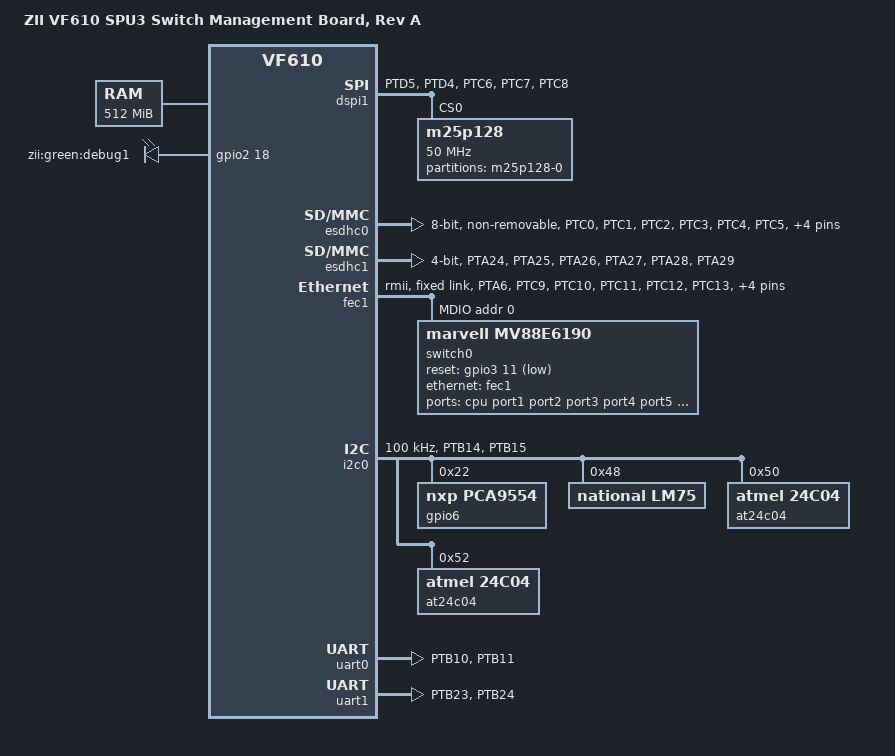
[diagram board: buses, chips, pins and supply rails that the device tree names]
/*
 * Copyright (C) 2015, 2016 Zodiac Inflight Innovations
 *
 * Based on an original 'vf610-twr.dts' which is Copyright 2015,
 * Freescale Semiconductor, Inc.
 *
 * This file is dual-licensed: you can use it either under the terms
 * of the GPL or the X11 license, at your option. Note that this dual
 * licensing only applies to this file, and not this project as a
 * whole.
 *
 *  a) This file is free software; you can redistribute it and/or
 *     modify it under the terms of the GNU General Public License
 *     version 2 as published by the Free Software Foundation.
 *
 *     This file is distributed in the hope that it will be useful
 *     but WITHOUT ANY WARRANTY; without even the implied warranty of
 *     MERCHANTABILITY or FITNESS FOR A PARTICULAR PURPOSE.  See the
 *     GNU General Public License for more details.
 *
 * Or, alternatively
 *
 *  b) Permission is hereby granted, free of charge, to any person
 *     obtaining a copy of this software and associated documentation
 *     files (the "Software"), to deal in the Software without
 *     restriction, including without limitation the rights to use
 *     copy, modify, merge, publish, distribute, sublicense, and/or
 *     sell copies of the Software, and to permit persons to whom the
 *     Software is furnished to do so, subject to the following
 *     conditions:
 *
 *     The above copyright notice and this permission notice shall be
 *     included in all copies or substantial portions of the Software.
 *
 *     THE SOFTWARE IS PROVIDED , WITHOUT WARRANTY OF ANY KIND
 *     EXPRESS OR IMPLIED, INCLUDING BUT NOT LIMITED TO THE WARRANTIES
 *     OF MERCHANTABILITY, FITNESS FOR A PARTICULAR PURPOSE AND
 *     NONINFRINGEMENT. IN NO EVENT SHALL THE AUTHORS OR COPYRIGHT
 *     HOLDERS BE LIABLE FOR ANY CLAIM, DAMAGES OR OTHER LIABILITY
 *     WHETHER IN AN ACTION OF CONTRACT, TORT OR OTHERWISE, ARISING
 *     FROM, OUT OF OR IN CONNECTION WITH THE SOFTWARE OR THE USE OR
 *     OTHER DEALINGS IN THE SOFTWARE.
 */

/dts-v1/;
#include "vf610.dtsi"

/ {
	model = "ZII VF610 SPU3 Switch Management Board, Rev A";
	compatible = "zii,vf610spu3", "fsl,vf610";

	chosen {
		stdout-path = "serial0:115200n8";
	};

	memory {
		reg = <0x80000000 0x20000000>;
	};

	gpio-leds {
		compatible = "gpio-leds";
		pinctrl-0 = <&pinctrl_leds_debug>;
		pinctrl-names = "default";

		debug {
			label = "zii:green:debug1";
			gpios = <&gpio2 18 GPIO_ACTIVE_HIGH>;
			linux,default-trigger = "heartbeat";
		};
	};
};

&dspi1 {
	bus-num = <1>;
	pinctrl-names = "default";
	pinctrl-0 = <&pinctrl_dspi1>;
	status = "okay";

	m25p128@0 {
		#address-cells = <1>;
		#size-cells = <1>;
		compatible = "m25p128", "jedec,spi-nor";
		reg = <0>;
		spi-max-frequency = <50000000>;

		partition@0 {
			label = "m25p128-0";
			reg = <0x0 0x01000000>;
		};
	};
};

&edma0 {
	status = "okay";
};

&esdhc0 {
	pinctrl-names = "default";
	pinctrl-0 = <&pinctrl_esdhc0>;
	bus-width = <8>;
	non-removable;
	no-1-8-v;
	keep-power-in-suspend;
	status = "okay";
};

&esdhc1 {
	pinctrl-names = "default";
	pinctrl-0 = <&pinctrl_esdhc1>;
	bus-width = <4>;
	status = "okay";
};

&fec1 {
	phy-mode = "rmii";
	pinctrl-names = "default";
	pinctrl-0 = <&pinctrl_fec1>;
	status = "okay";

	fixed-link {
		   speed = <100>;
		   full-duplex;
	};

	mdio1: mdio {
		#address-cells = <1>;
		#size-cells = <0>;
		status = "okay";

		switch0: switch0@0 {
			compatible = "marvell,mv88e6190";
			pinctrl-0 = <&pinctrl_sw_reset>;
			pinctrl-names = "default";
			#address-cells = <1>;
			#size-cells = <0>;
			reg = <0>;
			eeprom-length = <512>;
			reset-gpios = <&gpio3 11 GPIO_ACTIVE_LOW>;

			ports {
				#address-cells = <1>;
				#size-cells = <0>;
				port@0 {
					reg = <0>;
					label = "cpu";
					ethernet = <&fec1>;
					fixed-link {
						speed = <100>;
						full-duplex;
					};
				};
				port@1 {
					reg = <1>;
					label = "port1";
				};

				port@2 {
					reg = <2>;
					label = "port2";
				};

				port@3 {
					reg = <3>;
					label = "port3";
				};

				port@4 {
					reg = <4>;
					label = "port4";
				};

				port@5 {
					reg = <5>;
					label = "port5";
				};

				port@6 {
					reg = <6>;
					label = "port6";
				};
			};
		};
	};
};

&i2c0 {
	clock-frequency = <100000>;
	pinctrl-names = "default";
	pinctrl-0 = <&pinctrl_i2c0>;
	status = "okay";

	/* Board Revision */
	gpio6: pca9505@22 {
		compatible = "nxp,pca9554";
		reg = <0x22>;
		gpio-controller;
		#gpio-cells = <2>;
	};

	lm75@48 {
		compatible = "national,lm75";
		reg = <0x48>;
	};

	/* SPU3 Nameplate */
	at24c04@50 {
		compatible = "atmel,24c04";
		reg = <0x50>;
	};

	/* SPU3 NVM */
	at24c04@52 {
		compatible = "atmel,24c04";
		reg = <0x52>;
	};
};

&uart0 {
	pinctrl-names = "default";
	pinctrl-0 = <&pinctrl_uart0>;
	status = "okay";
};

&uart1 {
	pinctrl-names = "default";
	pinctrl-0 = <&pinctrl_uart1>;
	status = "okay";
};

&iomuxc {
	pinctrl_dspi1: dspi1grp {
		fsl,pins = <
			VF610_PAD_PTD5__DSPI1_CS0	0x1182
			VF610_PAD_PTD4__DSPI1_CS1	0x1182
			VF610_PAD_PTC6__DSPI1_SIN	0x1181
			VF610_PAD_PTC7__DSPI1_SOUT	0x1182
			VF610_PAD_PTC8__DSPI1_SCK	0x1182
		>;
	};

	pinctrl_esdhc0: esdhc0grp {
		fsl,pins = <
			VF610_PAD_PTC0__ESDHC0_CLK	0x31ef
			VF610_PAD_PTC1__ESDHC0_CMD	0x31ef
			VF610_PAD_PTC2__ESDHC0_DAT0	0x31ef
			VF610_PAD_PTC3__ESDHC0_DAT1	0x31ef
			VF610_PAD_PTC4__ESDHC0_DAT2	0x31ef
			VF610_PAD_PTC5__ESDHC0_DAT3	0x31ef
			VF610_PAD_PTD23__ESDHC0_DAT4	0x31ef
			VF610_PAD_PTD22__ESDHC0_DAT5	0x31ef
			VF610_PAD_PTD21__ESDHC0_DAT6	0x31ef
			VF610_PAD_PTD20__ESDHC0_DAT7	0x31ef
		>;
	};

	pinctrl_esdhc1: esdhc1grp {
		fsl,pins = <
			VF610_PAD_PTA24__ESDHC1_CLK	0x31ef
			VF610_PAD_PTA25__ESDHC1_CMD	0x31ef
			VF610_PAD_PTA26__ESDHC1_DAT0	0x31ef
			VF610_PAD_PTA27__ESDHC1_DAT1	0x31ef
			VF610_PAD_PTA28__ESDHC1_DATA2	0x31ef
			VF610_PAD_PTA29__ESDHC1_DAT3	0x31ef
		>;
	};

	pinctrl_fec1: fec1grp {
		fsl,pins = <
			VF610_PAD_PTA6__RMII_CLKIN		0x30d1
			VF610_PAD_PTC9__ENET_RMII1_MDC		0x30d2
			VF610_PAD_PTC10__ENET_RMII1_MDIO	0x30d3
			VF610_PAD_PTC11__ENET_RMII1_CRS		0x30d1
			VF610_PAD_PTC12__ENET_RMII1_RXD1	0x30d1
			VF610_PAD_PTC13__ENET_RMII1_RXD0	0x30d1
			VF610_PAD_PTC14__ENET_RMII1_RXER	0x30d1
			VF610_PAD_PTC15__ENET_RMII1_TXD1	0x30d2
			VF610_PAD_PTC16__ENET_RMII1_TXD0	0x30d2
			VF610_PAD_PTC17__ENET_RMII1_TXEN	0x30d2
		>;
	};

	pinctrl_i2c0: i2c0grp {
		fsl,pins = <
			VF610_PAD_PTB14__I2C0_SCL		0x37ff
			VF610_PAD_PTB15__I2C0_SDA		0x37ff
		>;
	};

	pinctrl_leds_debug: pinctrl-leds-debug {
		fsl,pins = <
			 VF610_PAD_PTD3__GPIO_82		0x31c2
			 >;
	};

	pinctrl_sw_reset: pinctrl-sw_reset {
		fsl,pins = <
			 VF610_PAD_PTE2__GPIO_107		0x31c2
			 >;
	};

	pinctrl_uart0: uart0grp {
		fsl,pins = <
			VF610_PAD_PTB10__UART0_TX		0x21a2
			VF610_PAD_PTB11__UART0_RX		0x21a1
		>;
	};

	pinctrl_uart1: uart1grp {
		fsl,pins = <
			VF610_PAD_PTB23__UART1_TX		0x21a2
			VF610_PAD_PTB24__UART1_RX		0x21a1
		>;
	};
};
